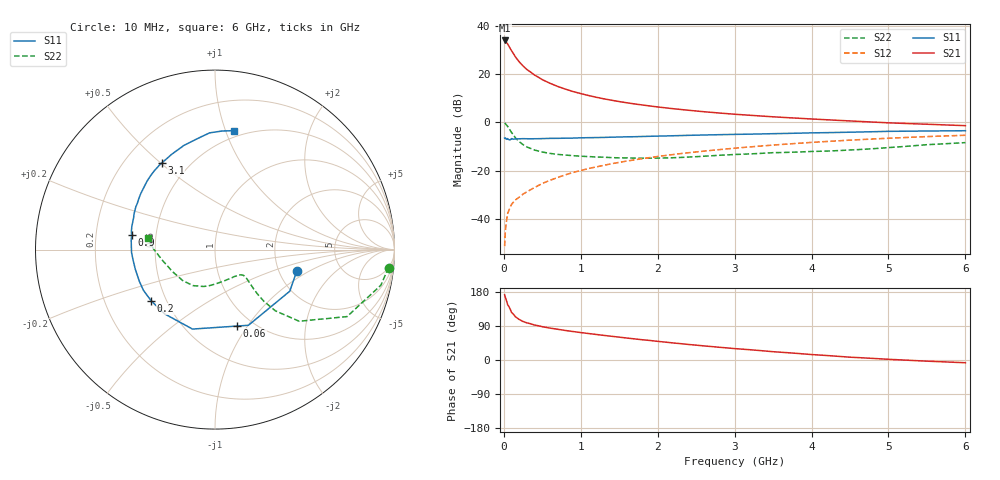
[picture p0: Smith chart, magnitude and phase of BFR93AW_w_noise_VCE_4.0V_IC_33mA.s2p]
! Infineon Technologies  Discrete & RF Semiconductors
! BFR93AW
! VCE =  4.0 V,  IC =  33 mA
! Common Emitter S-Parameters:  Jan 2017
# GHz  S  MA  R  50
!  f  S11  S21  S12  S22
! GHz  MAG  ANG  MAG  ANG  MAG  ANG  MAG  ANG
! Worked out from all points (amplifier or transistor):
!   77 points, 10 MHz to 6 GHz, reference 50 ohm
!   highest |S21| = 34.0 dB at 10 MHz (marker M1)
!   |S21| within 3 dB of that: start of sweep to 76.93 MHz
!   unconditionally stable (mu >= 1): 531.5 MHz to 2.024 GHz
!   at 130 MHz: K = 0.55, MSG = 30.6 dB, |S12| = -32.9 dB
!   at 2.2 GHz: K = 0.99, MSG = 9.5 dB, |S12| = -13.4 dB
!   at 6 GHz: K = 0.89, MSG = 2.0 dB, |S12| = -5.4 dB
!   lowest NFmin = 1.88 dB at 450 MHz
!   S11 on the Smith chart (normalised r, x): 10 MHz: 2.50, -0.77; 60 MHz: 0.85, -0.90; 200 MHz: 0.41, -0.30; 900 MHz: 0.36, +0.07; 3.1 GHz: 0.36, +0.50; 6 GHz: 0.44, +1.07
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0.01  0.4711 -14.8  50 172.1  0.0027 86.4  0.972 -5.9
0.02  0.4767 -29.1  49.43 165.0  0.0056 83.5  0.9454 -12.1
0.05  0.4609 -66.2  42.19 145.9  0.0128 69.0  0.8251 -26.9
0.06  0.4435 -73.8  39.55 142.8  0.0142 66.8  0.7804 -29.0
0.1  0.4602 -105.8  30.62 125.5  0.0199 61.3  0.6161 -40.4
0.15  0.4549 -128.0  22.87 114.1  0.0245 59.6  0.4788 -45.4
0.2  0.4559 -141.3  17.98 106.9  0.028 60.3  0.397 -46.6
0.25  0.4587 -150.3  14.77 101.6  0.0325 61.5  0.3452 -46.3
0.3  0.4571 -157.0  12.46 98.0  0.0362 63.3  0.3082 -45.5
0.4  0.4573 -166.2  9.543 92.2  0.0444 67.1  0.266 -43.8
0.5  0.4604 -173.0  7.692 87.9  0.0539 68.4  0.2422 -42.6
0.6  0.4653 -178.0  6.467 84.2  0.0628 69.4  0.227 -42.1
0.7  0.4664 177.8  5.564 81.1  0.0719 70.2  0.2164 -42.0
0.9  0.4716 170.3  4.357 75.1  0.0912 70.3  0.2039 -43.7
1.1  0.481 164.4  3.607 69.9  0.11 70.2  0.195 -46.7
1.3  0.4867 158.7  3.078 64.9  0.1284 69.4  0.1891 -50.8
1.5  0.4965 154.0  2.698 60.3  0.1478 68.3  0.1833 -56.3
2.1  0.5225 140.6  2.002 47.2  0.2055 63.8  0.1826 -77.1
3.1  0.5658 121.7  1.438 28.6  0.3 54.6  0.2182 -110.4
4.1  0.6085 105.2  1.153 13.1  0.3926 44.2  0.251 -139.6
5.1  0.6526 91.4  0.964 0.9  0.4757 33.0  0.3072 -171.4
6  0.6709 80.9  0.854 -7.3  0.5397 23.0  0.38 169.9
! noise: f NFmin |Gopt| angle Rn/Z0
0.45  1.88  0.2  177  0.16
0.9  2.14  0.27  -173  0.16
1.9  3.19  0.51  -134  0.3
2.4  3.85  0.56  -124  0.58
